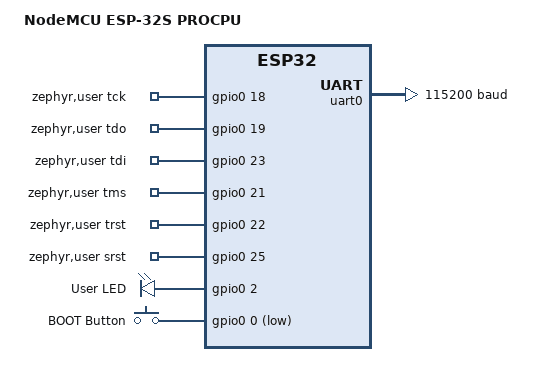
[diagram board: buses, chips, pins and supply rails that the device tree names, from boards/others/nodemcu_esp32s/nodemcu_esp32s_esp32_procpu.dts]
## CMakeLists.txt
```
cmake_minimum_required(VERSION 3.20.0)

list(APPEND BOARD_ROOT "${CMAKE_CURRENT_SOURCE_DIR}")
find_package(Zephyr REQUIRED HINTS $ENV{ZEPHYR_BASE})
project(dirtyjtag LANGUAGES C)

target_include_directories(app PRIVATE include)

if(CONFIG_DIRTYJTAG_UNIVERSAL_FRONTEND)
  target_sources(app PRIVATE
    src/main.c
    src/rpi_pico_hal.c
    src/swim_rp2040_pio.c

    src/bridge.c
    src/crc32.c
    src/debug.c
    src/debug_bitbang.c
    src/device_db.c
    src/dspic30.c
    src/dspic33f.c
    src/dspic_common.c
    src/dspic_debug.c
    src/hw.c
    src/phy_bitbang.c
    src/power_compat.c
    src/power_trace.c
    src/rtt.c
    src/safety.c
    src/script_vm.c
    src/swim.c
    src/swo.c
    src/usb_proto.c

    src/backends/backend_avr_isp.c
    src/backends/backend_c2.c
    src/backends/backend_dspic.c
    src/backends/backend_msp430_jtag.c
    src/backends/backend_pdi.c
    src/backends/backend_pic_icsp_raw.c
    src/backends/backend_registry.c
    src/backends/backend_rl78.c
    src/backends/backend_sbw.c
    src/backends/backend_simplelink.c
    src/backends/backend_swd_jtag.c
    src/backends/backend_swim.c
    src/backends/backend_tms320.c
    src/backends/backend_tpi.c
    src/backends/backend_updi.c
  )
else()
  target_sources(app PRIVATE
    src/cmd.c
    src/delay.c
    src/dirtyjtag.c
    src/jtag.c
  )
  if(CONFIG_DIRTYJTAG_LEGACY_UART_TRANSPORT)
    target_sources(app PRIVATE src/usb_uart.c)
  else()
    target_sources(app PRIVATE src/usb.c)
  endif()
endif()
```

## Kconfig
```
mainmenu "DirtyJTAG firmware"

choice DIRTYJTAG_FRONTEND
	prompt "USB protocol frontend"
	default DIRTYJTAG_UNIVERSAL_FRONTEND if SOC_RP2040
	default DIRTYJTAG_LEGACY_FRONTEND

config DIRTYJTAG_UNIVERSAL_FRONTEND
	bool "Universal DJP2 programmer and debugger"
	depends on SOC_RP2040
	help
	  Build the DJP2 command frontend and universal programming backends for
	  the protected Raspberry Pi Pico hardware frontend.

config DIRTYJTAG_LEGACY_FRONTEND
	bool "Original DirtyJTAG protocol"
	help
	  Build the original DirtyJTAG USB protocol and JTAG engine. This remains
	  the compatibility frontend for boards without the universal hardware.

endchoice

if DIRTYJTAG_LEGACY_FRONTEND

choice DIRTYJTAG_LEGACY_TRANSPORT
	prompt "Original DirtyJTAG transport"
	default DIRTYJTAG_LEGACY_UART_TRANSPORT if SOC_ESP32
	default DIRTYJTAG_LEGACY_USB_TRANSPORT

config DIRTYJTAG_LEGACY_USB_TRANSPORT
	bool "USB vendor bulk transport"
	depends on USB_DEVICE_STACK_NEXT
	help
	  Use the original vendor-specific USB bulk endpoints.

config DIRTYJTAG_LEGACY_UART_TRANSPORT
	bool "UART packet transport"
	depends on SERIAL
	help
	  Use the legacy command packets over the chosen console UART. This is
	  intended for ESP32 boards whose USB connector is an external USB-UART
	  bridge instead of a native USB device peripheral.

endchoice

config DIRTYJTAG_LEGACY_UART_RX_IDLE_MS
	int "UART packet receive idle timeout"
	depends on DIRTYJTAG_LEGACY_UART_TRANSPORT
	range 1 100
	default 2

endif

if DIRTYJTAG_UNIVERSAL_FRONTEND

config DJPROG_MAX_PAYLOAD
	int "Maximum DJP2 payload"
	range 256 4096
	default 2048
	help
	  Largest request or response payload buffered by the USB command task.

config DJPROG_VPP_MIN_MV
	int "Minimum accepted VPP"
	range 8000 15000
	default 10500

config DJPROG_VPP_MAX_MV
	int "Maximum accepted VPP"
	range 9000 16000
	default 13250

config DJPROG_3V3_MIN_MV
	int "Minimum accepted internally-generated 3.3 V target rail"
	range 2500 3400
	default 3000

config DJPROG_3V3_MAX_MV
	int "Maximum accepted internally-generated 3.3 V target rail"
	range 3300 4200
	default 3650

config DJPROG_5V_MIN_MV
	int "Minimum accepted internally-generated 5 V target rail"
	range 4000 5000
	default 4500

config DJPROG_5V_MAX_MV
	int "Maximum accepted internally-generated 5 V target rail"
	range 5000 6000
	default 5300

config DJPROG_VTARGET_SCALE_PPM
	int "VTARGET measurement gain calibration in ppm"
	range 800000 1200000
	default 1000000
	help
	  Gain correction applied after the nominal x2 divider conversion.

config DJPROG_VTARGET_OFFSET_MV
	int "VTARGET measurement offset calibration in mV"
	range -500 500
	default 0

config DJPROG_VPP_SCALE_PPM
	int "VPP measurement gain calibration in ppm"
	range 800000 1200000
	default 1000000
	help
	  Gain correction applied after the nominal x4.3 divider conversion.

config DJPROG_VPP_OFFSET_MV
	int "VPP measurement offset calibration in mV"
	range -1000 1000
	default 0

config DJPROG_ITARGET_SCALE_PPM
	int "Target-current measurement gain calibration in ppm"
	range 800000 1200000
	default 1000000
	help
	  Gain correction applied after the nominal 5 mV/mA conversion.

config DJPROG_ITARGET_OFFSET_MA
	int "Target-current measurement offset calibration in mA"
	range -100 100
	default 0

config DJPROG_SWIM_RP2040_PIO
	bool "Use RP2040 PIO-assisted STM8 SWIM PHY"
	depends on PIO_RPI_PICO
	default y
	help
	  Use an RP2040 PIO state machine for timing-sensitive STM8 SWIM pulses.

config DJPROG_SWIM_PIO_DEFAULT_HZ
	int "Default STM8 SWIM PIO low-speed clock"
	range 100000 8000000
	default 363000

config DJPROG_TARGET_CURRENT_LIMIT_MA
	int "Nominal hardware target current limit"
	default 500
	help
	  Documentation value for the fitted TPS2553 RILIM. Hardware enforces
	  the actual current limit.

endif

source "Kconfig.zephyr"
```

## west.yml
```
manifest:
  version: "1.2"
  remotes:
    - name: zephyrproject-rtos
      url-base: https://github.com/zephyrproject-rtos
  projects:
    - name: zephyr
      remote: zephyrproject-rtos
      revision: v4.3.0
      import: true
  self:
    path: DirtyJTAG-Universal-Pico
```

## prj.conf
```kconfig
CONFIG_MAIN_STACK_SIZE=8192
CONFIG_HEAP_MEM_POOL_SIZE=4096
CONFIG_GPIO=y
CONFIG_ADC=y
CONFIG_SERIAL=y
CONFIG_UART_LINE_CTRL=y
CONFIG_USB_DEVICE_STACK=y
CONFIG_USB_DEVICE_PRODUCT="DirtyJTAG Universal Pico Prog+Debug"
CONFIG_USB_DEVICE_MANUFACTURER="DirtyJTAG"
CONFIG_USB_DEVICE_VID=0x1209
CONFIG_USB_DEVICE_PID=0xC0CA
CONFIG_LOG=n
CONFIG_CONSOLE=n
CONFIG_UART_CONSOLE=n
CONFIG_STDOUT_CONSOLE=n
CONFIG_ASSERT=y
```

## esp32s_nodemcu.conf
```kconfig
CONFIG_DIRTYJTAG_UNIVERSAL_FRONTEND=n
CONFIG_DIRTYJTAG_LEGACY_FRONTEND=y
CONFIG_DIRTYJTAG_LEGACY_UART_TRANSPORT=y

CONFIG_USB_DEVICE_STACK=n
CONFIG_USB_DEVICE_STACK_NEXT=n
CONFIG_ADC=n
CONFIG_SERIAL=y
CONFIG_UART_CONSOLE=n
CONFIG_CONSOLE=n
CONFIG_UART_LINE_CTRL=n
CONFIG_MAIN_STACK_SIZE=2048
CONFIG_SYSTEM_WORKQUEUE_STACK_SIZE=1024
```

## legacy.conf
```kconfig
CONFIG_DIRTYJTAG_UNIVERSAL_FRONTEND=n
CONFIG_DIRTYJTAG_LEGACY_FRONTEND=y

CONFIG_USB_DEVICE_STACK=n
CONFIG_USB_DEVICE_STACK_NEXT=y
CONFIG_UDC_DRIVER_HIGH_SPEED_SUPPORT_ENABLED=n

CONFIG_ADC=n
CONFIG_SERIAL=n
CONFIG_UART_LINE_CTRL=n
CONFIG_MAIN_STACK_SIZE=2048
CONFIG_SYSTEM_WORKQUEUE_STACK_SIZE=1024
```

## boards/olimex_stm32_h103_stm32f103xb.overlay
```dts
/ {
  zephyr,user {
    tck-gpios = <&gpioa 5 GPIO_ACTIVE_HIGH>;
    tdo-gpios = <&gpioa 6 GPIO_ACTIVE_HIGH>;
    tdi-gpios = <&gpioa 7 GPIO_ACTIVE_HIGH>;
    tms-gpios = <&gpioa 3 GPIO_ACTIVE_HIGH>;
    trst-gpios = <&gpioa 4 GPIO_ACTIVE_HIGH>;
    srst-gpios = <&gpioa 2 GPIO_ACTIVE_HIGH>;
  };
};

&usb {
  status = "okay";
};
```

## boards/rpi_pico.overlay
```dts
#include <zephyr/dt-bindings/adc/adc.h>

&adc { status = "okay"; };

&zephyr_udc0 {
    dj_cdc: dj_cdc {
        compatible = "zephyr,cdc-acm-uart";
        label = "DirtyJTAG Universal Programmer";
    };
};
```

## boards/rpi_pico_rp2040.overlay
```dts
#include <zephyr/dt-bindings/adc/adc.h>
#include <zephyr/dt-bindings/gpio/gpio.h>

/ {
	aliases {
		dirtyjtag-pico = &dirtyjtag_pico;
		dirtyjtag-pio = &pio0;
	};

	zephyr,user {
		tck-gpios = <&gpio0 2 GPIO_ACTIVE_HIGH>;
		tms-gpios = <&gpio0 3 GPIO_ACTIVE_HIGH>;
		tdi-gpios = <&gpio0 4 GPIO_ACTIVE_HIGH>;
		tdo-gpios = <&gpio0 5 GPIO_ACTIVE_HIGH>;
		srst-gpios = <&gpio0 6 GPIO_ACTIVE_HIGH>;
		trst-gpios = <&gpio0 7 GPIO_ACTIVE_HIGH>;
	};

	dirtyjtag_pico: dirtyjtag-pico {
		compatible = "dirtyjtag,pico-front-end";
		status = "okay";

		/*
		 * Universal target connector roles:
		 * CLK=J1.3, DATA0=J1.4, DATA1=J1.5, DATA2=J1.6,
		 * RESET/VPP=J1.7, AUX=J1.9.
		 */
		clk-gpios = <&gpio0 2 GPIO_ACTIVE_HIGH>;
		data0-gpios = <&gpio0 3 GPIO_ACTIVE_HIGH>;
		data1-gpios = <&gpio0 4 GPIO_ACTIVE_HIGH>;
		data2-gpios = <&gpio0 5 GPIO_ACTIVE_HIGH>;
		reset-gpios = <&gpio0 6 GPIO_ACTIVE_HIGH>;
		aux-gpios = <&gpio0 7 GPIO_ACTIVE_HIGH>;

		clk-dir-gpios = <&gpio0 8 GPIO_ACTIVE_HIGH>;
		data0-dir-gpios = <&gpio0 9 GPIO_ACTIVE_HIGH>;
		data1-dir-gpios = <&gpio0 10 GPIO_ACTIVE_HIGH>;
		data2-dir-gpios = <&gpio0 11 GPIO_ACTIVE_HIGH>;
		aux-dir-gpios = <&gpio0 12 GPIO_ACTIVE_HIGH>;

		tgt-reg-en-gpios = <&gpio0 13 GPIO_ACTIVE_HIGH>;
		tgt-vsel-gpios = <&gpio0 14 GPIO_ACTIVE_HIGH>;
		tgt-sw-en-gpios = <&gpio0 15 GPIO_ACTIVE_HIGH>;
		vpp-boost-en-gpios = <&gpio0 16 GPIO_ACTIVE_HIGH>;
		vpp-mclr-apply-gpios = <&gpio0 17 GPIO_ACTIVE_HIGH>;
		tgt-fault-n-gpios = <&gpio0 18 GPIO_ACTIVE_LOW>;
		data0-iso-en-gpios = <&gpio0 19 GPIO_ACTIVE_HIGH>;
		hv-data0-apply-gpios = <&gpio0 20 GPIO_ACTIVE_HIGH>;

		vtarget-adc-channel = <0>;	/* GP26 / ADC0, x2 divider */
		vpp-adc-channel = <1>;		/* GP27 / ADC1, x4.3 divider */
		itarget-adc-channel = <2>;	/* GP28 / ADC2, 5 mV/mA */
	};
};

&adc {
	status = "okay";
};

/* The RP2040 SWIM PHY allocates state machines from PIO0. */
&pio0 {
	status = "okay";
};

&zephyr_udc0 {
	dj_cdc: dj_cdc {
		compatible = "zephyr,cdc-acm-uart";
	};
};
```

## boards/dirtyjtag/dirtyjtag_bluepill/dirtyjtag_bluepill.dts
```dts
/*
 * DirtyJTAG Bluepill board definition.
 *
 * SPDX-License-Identifier: Apache-2.0
 */

/dts-v1/;
#include <st/f1/stm32f103X8.dtsi>
#include <zephyr/dt-bindings/gpio/gpio.h>

/ {
	model = "DirtyJTAG Bluepill";
	compatible = "dirtyjtag,bluepill", "st,stm32f103c8";

	chosen {
		zephyr,sram = &sram0;
		zephyr,flash = &flash0;
	};

	zephyr,user {
		tck-gpios = <&gpioa 5 GPIO_ACTIVE_HIGH>;
		tdo-gpios = <&gpioa 6 GPIO_ACTIVE_HIGH>;
		tdi-gpios = <&gpioa 7 GPIO_ACTIVE_HIGH>;
		tms-gpios = <&gpioa 3 GPIO_ACTIVE_HIGH>;
		trst-gpios = <&gpioa 4 GPIO_ACTIVE_HIGH>;
		srst-gpios = <&gpioa 2 GPIO_ACTIVE_HIGH>;
	};
};

&clk_hse {
	clock-frequency = <DT_FREQ_M(8)>;
	status = "okay";
};

&pll {
	mul = <9>;
	clocks = <&clk_hse>;
	status = "okay";
};

&rcc {
	clocks = <&pll>;
	clock-frequency = <DT_FREQ_M(72)>;
	ahb-prescaler = <1>;
	apb1-prescaler = <2>;
	apb2-prescaler = <1>;
};

&gpioa {
	status = "okay";
};

&gpiob {
	status = "okay";
};

zephyr_udc0: &usb {
	status = "okay";
};
```

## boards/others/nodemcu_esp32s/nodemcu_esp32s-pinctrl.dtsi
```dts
/*
 * SPDX-License-Identifier: Apache-2.0
 */

#include <zephyr/dt-bindings/pinctrl/esp-pinctrl-common.h>
#include <zephyr/dt-bindings/pinctrl/esp32-pinctrl.h>
#include <zephyr/dt-bindings/pinctrl/esp32-gpio-sigmap.h>

&pinctrl {
	uart0_default: uart0_default {
		group1 {
			pinmux = <UART0_TX_GPIO1>;
			output-high;
		};

		group2 {
			pinmux = <UART0_RX_GPIO3>;
			bias-pull-up;
		};
	};
};
```

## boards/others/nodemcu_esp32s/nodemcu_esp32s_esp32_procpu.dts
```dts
/*
 * SPDX-License-Identifier: Apache-2.0
 */
/dts-v1/;

#include <espressif/esp32/esp32_wroom_32ue_n4.dtsi>
#include "nodemcu_esp32s-pinctrl.dtsi"
#include <zephyr/dt-bindings/input/input-event-codes.h>
#include <espressif/partitions_0x1000_amp.dtsi>

/ {
	model = "NodeMCU ESP-32S PROCPU";
	compatible = "espressif,esp32";

	aliases {
		uart-0 = &uart0;
		sw0 = &button0;
		led0 = &blue_led;
		watchdog0 = &wdt0;
	};

	chosen {
		zephyr,sram = &sram1;
		zephyr,console = &uart0;
		zephyr,shell-uart = &uart0;
		zephyr,flash = &flash0;
		zephyr,code-partition = &slot0_partition;
	};

	zephyr,user {
		/*
		 * DirtyJTAG external probe header.
		 * Avoid ESP32 boot strapping pins 0/2/4/5/12/15 so an attached
		 * target cannot easily hold the module in the wrong boot mode.
		 */
		tck-gpios = <&gpio0 18 GPIO_ACTIVE_HIGH>;
		tdo-gpios = <&gpio0 19 GPIO_ACTIVE_HIGH>;
		tdi-gpios = <&gpio0 23 GPIO_ACTIVE_HIGH>;
		tms-gpios = <&gpio0 21 GPIO_ACTIVE_HIGH>;
		trst-gpios = <&gpio0 22 GPIO_ACTIVE_HIGH>;
		srst-gpios = <&gpio0 25 GPIO_ACTIVE_HIGH>;
	};

	leds {
		compatible = "gpio-leds";

		blue_led: blue_led {
			gpios = <&gpio0 2 GPIO_ACTIVE_HIGH>;
			label = "User LED";
		};
	};

	buttons {
		compatible = "gpio-keys";

		button0: button_0 {
			gpios = <&gpio0 0 (GPIO_PULL_UP | GPIO_ACTIVE_LOW)>;
			label = "BOOT Button";
			zephyr,code = <INPUT_KEY_0>;
		};
	};
};

&uart0 {
	status = "okay";
	current-speed = <115200>;
	pinctrl-0 = <&uart0_default>;
	pinctrl-names = "default";
};

&gpio0 {
	status = "okay";
};

&gpio1 {
	status = "okay";
};

&timer0 {
	status = "disabled";
};

&timer1 {
	status = "disabled";
};

&timer2 {
	status = "disabled";
};

&timer3 {
	status = "disabled";
};
```

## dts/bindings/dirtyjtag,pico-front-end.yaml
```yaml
description: DirtyJTAG Raspberry Pi Pico universal front-end

compatible: "dirtyjtag,pico-front-end"

properties:
  clk-gpios:
    type: phandle-array
    required: true
  data0-gpios:
    type: phandle-array
    required: true
  data1-gpios:
    type: phandle-array
    required: true
  data2-gpios:
    type: phandle-array
    required: true
  reset-gpios:
    type: phandle-array
    required: true
  aux-gpios:
    type: phandle-array
    required: true

  clk-dir-gpios:
    type: phandle-array
    required: true
  data0-dir-gpios:
    type: phandle-array
    required: true
  data1-dir-gpios:
    type: phandle-array
    required: true
  data2-dir-gpios:
    type: phandle-array
    required: true
  aux-dir-gpios:
    type: phandle-array
    required: true

  tgt-reg-en-gpios:
    type: phandle-array
    required: true
  tgt-vsel-gpios:
    type: phandle-array
    required: true
  tgt-sw-en-gpios:
    type: phandle-array
    required: true
  vpp-boost-en-gpios:
    type: phandle-array
    required: true
  vpp-mclr-apply-gpios:
    type: phandle-array
    required: true
  tgt-fault-n-gpios:
    type: phandle-array
    required: true
  data0-iso-en-gpios:
    type: phandle-array
    required: true
  hv-data0-apply-gpios:
    type: phandle-array
    required: true

  vtarget-adc-channel:
    type: int
    required: true
  vpp-adc-channel:
    type: int
    required: true
  itarget-adc-channel:
    type: int
    required: true
```

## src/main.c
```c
/* SPDX-License-Identifier: MIT */
#include "djprog/hw.h"
#include "djprog/usb_proto.h"

#include <zephyr/device.h>
#include <zephyr/drivers/uart.h>
#include <zephyr/kernel.h>
#include <zephyr/usb/usb_device.h>

/* The universal frontend is a small USB-to-target event loop. Target-specific
 * behavior stays behind the DJP2 dispatcher and hardware abstraction. */
extern int dj_rpi_pico_hal_init(void);

static const struct device *const cdc = DEVICE_DT_GET(DT_NODELABEL(dj_cdc));
static uint8_t input_buffer[DJP2_HDR_SIZE + DJP2_MAX_PAYLOAD];
static uint8_t output_buffer[DJP2_HDR_SIZE + DJP2_MAX_PAYLOAD];
static struct djp2_frame request;
static struct djp2_frame response;

static uint8_t read_byte(void) {
	uint8_t value;

	while (uart_poll_in(cdc, &value) != 0) {
		k_sleep(K_MSEC(1));
	}

	return value;
}

static void write_bytes(const uint8_t *data, size_t length) {
	for (size_t i = 0; i < length; ++i) {
		uart_poll_out(cdc, data[i]);
	}
}

static void wait_for_host(void) {
	uint32_t dtr = 0;

	while (dtr == 0U) {
		(void)uart_line_ctrl_get(cdc, UART_LINE_CTRL_DTR, &dtr);
		k_sleep(K_MSEC(50));
	}
}

static void read_frame(void) {
	uint32_t window = 0;

	/* Scan for the magic so a truncated or noisy frame does not desync USB. */
	do {
		window = (window >> 8) | ((uint32_t)read_byte() << 24);
	} while (window != DJP2_MAGIC);

	input_buffer[0] = 'D';
	input_buffer[1] = 'J';
	input_buffer[2] = 'P';
	input_buffer[3] = '2';
	for (size_t i = 4; i < DJP2_HDR_SIZE; ++i) {
		input_buffer[i] = read_byte();
	}
}

int main(void) {
	if (dj_rpi_pico_hal_init() != 0) {
		return 0;
	}

	(void)dj_hw_safe_idle();
	if (!device_is_ready(cdc) || usb_enable(NULL) != 0) {
		return 0;
	}
	wait_for_host();

	for (;;) {
		read_frame();
		uint32_t payload_length = (uint32_t)input_buffer[14] | ((uint32_t)input_buffer[15] << 8) |
		                          ((uint32_t)input_buffer[16] << 16) |
		                          ((uint32_t)input_buffer[17] << 24);

		if (payload_length > DJP2_MAX_PAYLOAD) {
			(void)dj_hw_safe_idle();
			continue;
		}
		for (size_t i = 0; i < payload_length; ++i) {
			input_buffer[DJP2_HDR_SIZE + i] = read_byte();
		}

		if (djp2_decode(input_buffer, DJP2_HDR_SIZE + payload_length, &request) != 0) {
			(void)dj_hw_safe_idle();
			continue;
		}

		(void)djp2_dispatch(&request, &response);
		size_t encoded_length = djp2_encode(&response, output_buffer, sizeof(output_buffer));
		if (encoded_length != 0U) {
			write_bytes(output_buffer, encoded_length);
		}
	}

	return 0;
}
```

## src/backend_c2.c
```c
/* SPDX-License-Identifier: MIT */
#include "djprog/backend.h"
#include "djprog/phy.h"
#include "djprog/hw.h"
#include <errno.h>
#define C2_DEVICEID 0x00u
#define C2_REVID    0x01u
#define C2_FPCTL    0x02u
#define C2_FPDAT    0xB4u
static struct dj_target_cfg cfg;static int sel(const struct dj_target_cfg*c){cfg=*c;return 0;}
static int poll(uint8_t mask,bool set){for(int i=0;i<10000;i++){uint8_t a=0;int r=dj_c2_addr_read(&a);if(r)return r;if(((a&mask)!=0)==set)return 0;dj_hw()->delay_us(2);}return-ETIMEDOUT;}
static int fpwrite(uint8_t x){int r=dj_c2_data_write(x);if(r)return r;return poll(0x02,false);}static int fpread(uint8_t*x){int r=poll(0x01,true);if(r)return r;return dj_c2_data_read(x);} 
static int enter(void){const struct dj_hw_ops*h=dj_hw();if(!h)return-ENODEV;if(h->power){int r=h->power(cfg.power);if(r)return r;}h->dir(DJ_PIN_CLK,DJ_DIR_OUTPUT);h->write(DJ_PIN_CLK,false);h->delay_us(25);h->write(DJ_PIN_CLK,true);h->delay_us(3);int r=dj_c2_addr_write(C2_FPCTL);if(r)return r;if((r=dj_c2_data_write(0x02)))return r;if((r=dj_c2_data_write(0x04)))return r;if((r=dj_c2_data_write(0x01)))return r;h->delay_us(20000);return 0;}static int leave(void){if(dj_hw()){dj_hw()->dir(DJ_PIN_CLK,DJ_DIR_INPUT);dj_hw()->dir(DJ_PIN_DATA0,DJ_DIR_INPUT);}return 0;}
static int identify(uint8_t*out,size_t*len){if(!out||!len||*len<2)return-ENOSPC;int r=dj_c2_addr_write(C2_DEVICEID);if(r)return r;if((r=dj_c2_data_read(&out[0])))return r;if((r=dj_c2_addr_write(C2_REVID)))return r;if((r=dj_c2_data_read(&out[1])))return r;*len=2;return 0;}
static int c2cmd(uint8_t c){int r=dj_c2_addr_write(C2_FPDAT);if(r)return r;if((r=fpwrite(c)))return r;uint8_t s=0;if((r=fpread(&s)))return r;return s==0x0D?0:-EIO;}
static int erase(void){int r=c2cmd(0x03);if(r)return r;uint8_t key[3]={0xDE,0xAD,0xA5};for(int i=0;i<3;i++)if((r=fpwrite(key[i])))return r;uint8_t s=0;if((r=fpread(&s)))return r;return s==0x0D?0:-EIO;}
static int readm(uint32_t a,uint8_t*d,size_t n){if(!d||a>0xFFFFu||a+n>0x10000u)return-ERANGE;while(n){size_t k=n>256?256:n;int r=c2cmd(0x06);if(r)return r;if((r=fpwrite((uint8_t)(a>>8))))return r;if((r=fpwrite((uint8_t)a)))return r;if((r=fpwrite((uint8_t)(k==256?0:k))))return r;for(size_t i=0;i<k;i++)if((r=fpread(&d[i])))return r;a+=k;d+=k;n-=k;}return 0;}
static int writem(uint32_t a,const uint8_t*d,size_t n){if(!d||a>0xFFFFu||a+n>0x10000u)return-ERANGE;while(n){size_t k=n>256?256:n;int r=c2cmd(0x07);if(r)return r;if((r=fpwrite((uint8_t)(a>>8))))return r;if((r=fpwrite((uint8_t)a)))return r;if((r=fpwrite((uint8_t)(k==256?0:k))))return r;for(size_t i=0;i<k;i++)if((r=fpwrite(d[i])))return r;uint8_t s=0;if((r=fpread(&s)))return r;if(s!=0x0D)return-EIO;a+=k;d+=k;n-=k;}return 0;}
static int raw(const uint8_t*t,size_t n,uint8_t*r,size_t*rn){if(!t||n<1||!rn)return-EINVAL;switch(t[0]){case 0:if(n<2)return-EINVAL;*rn=0;return dj_c2_addr_write(t[1]);case 1:if(*rn<1)return-ENOSPC;*rn=1;return dj_c2_addr_read(r);case 2:if(n<2)return-EINVAL;*rn=0;return dj_c2_data_write(t[1]);case 3:if(*rn<1)return-ENOSPC;*rn=1;return dj_c2_data_read(r);default:return-ENOSYS;}}
const struct dj_backend dj_backend_c2={DJ_PROTO_SILABS_C2,"silabs-c2",DJ_CAP_IDENTIFY|DJ_CAP_ERASE|DJ_CAP_READ|DJ_CAP_WRITE|DJ_CAP_RAW_XFER|DJ_CAP_DEBUG_PHY|DJ_CAP_EXPERIMENTAL,100000,1000000,sel,enter,leave,identify,erase,readm,writem,raw};
```

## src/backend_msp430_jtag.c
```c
/* SPDX-License-Identifier: MIT */
#include "djprog/backend.h"
#include "djprog/hw.h"
#include "djprog/msp430.h"
#include <errno.h>
#include <string.h>

static struct dj_target_cfg cfg;

static uint32_t hp(void)
{
    uint32_t hz = cfg.clock_hz ? cfg.clock_hz : 200000u;
    uint32_t x = 500000u / hz;
    return x ? x : 1u;
}

static void dly(void)
{
    const struct dj_hw_ops *h = dj_hw();
    if (h && h->delay_us) h->delay_us(hp());
}

static int sel(const struct dj_target_cfg *c)
{
    if (!c) return -EINVAL;
    cfg = *c;
    return 0;
}

static int jtag_clk(bool tms, bool tdi, bool *tdo)
{
    const struct dj_hw_ops *h = dj_hw();
    if (!h) return -ENODEV;
    int r = h->write(DJ_PIN_CLK, false); if (r) return r;
    r = h->write(DJ_PIN_DATA0, tms); if (r) return r;   /* TMS */
    r = h->write(DJ_PIN_DATA1, tdi); if (r) return r;   /* TDI */
    dly();
    bool v = false;
    if (tdo) { r = h->read(DJ_PIN_DATA2, &v); if (r) return r; }
    r = h->write(DJ_PIN_CLK, true); if (r) return r;
    dly();
    if (tdo) *tdo = v;
    return 0;
}

static int tap_reset(unsigned cycles)
{
    if (!cycles) cycles = 6;
    for (unsigned i = 0; i < cycles; ++i) {
        int r = jtag_clk(true, true, NULL);
        if (r) return r;
    }
    return jtag_clk(false, true, NULL); /* Run-Test/Idle */
}

static int goto_shift_ir(void)
{
    int r;
    r = jtag_clk(true, true, NULL); if (r) return r;  /* Select-DR */
    r = jtag_clk(true, true, NULL); if (r) return r;  /* Select-IR */
    r = jtag_clk(false, true, NULL); if (r) return r; /* Capture-IR */
    return jtag_clk(false, true, NULL);               /* Shift-IR */
}

static int goto_shift_dr(void)
{
    int r;
    r = jtag_clk(true, true, NULL); if (r) return r;  /* Select-DR */
    r = jtag_clk(false, true, NULL); if (r) return r; /* Capture-DR */
    return jtag_clk(false, true, NULL);               /* Shift-DR */
}

static int finish_shift(void)
{
    int r;
    r = jtag_clk(true, true, NULL); if (r) return r;  /* Update-IR/DR */
    return jtag_clk(false, true, NULL);               /* Run-Test/Idle */
}

static int shift_bits(bool ir, uint16_t bits, const uint8_t *tx, uint8_t *rx, size_t *rxlen)
{
    if (!bits || !tx || !rx || !rxlen) return -EINVAL;
    size_t bytes = (bits + 7u) / 8u;
    if (*rxlen < bytes) return -ENOSPC;
    memset(rx, 0, bytes);
    int r = ir ? goto_shift_ir() : goto_shift_dr();
    if (r) return r;
    for (uint16_t i = 0; i < bits; ++i) {
        bool last = (i + 1u) == bits;
        bool tdi = ((tx[i / 8u] >> (i & 7u)) & 1u) != 0;
        bool tdo = false;
        r = jtag_clk(last, tdi, &tdo);
        if (r) return r;
        if (tdo) rx[i / 8u] |= (uint8_t)(1u << (i & 7u));
    }
    r = finish_shift();
    if (!r) *rxlen = bytes;
    return r;
}

static int clock_const(uint8_t cycles, bool tms, bool tdi, uint8_t *rx, size_t *rxlen)
{
    if (!rx || !rxlen) return -EINVAL;
    size_t bytes = (cycles + 7u) / 8u;
    if (*rxlen < bytes) return -ENOSPC;
    memset(rx, 0, bytes);
    for (uint8_t i = 0; i < cycles; ++i) {
        bool tdo = false;
        int r = jtag_clk(tms, tdi, &tdo);
        if (r) return r;
        if (tdo) rx[i / 8u] |= (uint8_t)(1u << (i & 7u));
    }
    *rxlen = bytes;
    return 0;
}

static int enter(void)
{
    const struct dj_hw_ops *h = dj_hw();
    if (!h) return -ENODEV;
    if (h->power) {
        int r = h->power(cfg.power);
        if (r) return r;
    }
    int r;
    r = h->dir(DJ_PIN_CLK, DJ_DIR_OUTPUT); if (r) return r;   /* TCK */
    r = h->dir(DJ_PIN_DATA0, DJ_DIR_OUTPUT); if (r) return r; /* TMS */
    r = h->dir(DJ_PIN_DATA1, DJ_DIR_OUTPUT); if (r) return r; /* TDI */
    r = h->dir(DJ_PIN_DATA2, DJ_DIR_INPUT); if (r) return r;  /* TDO */
    r = h->dir(DJ_PIN_RESET, DJ_DIR_OUTPUT); if (r) return r; /* nRST */
    r = h->dir(DJ_PIN_AUX, DJ_DIR_OUTPUT); if (r) return r;   /* TEST / JTAG enable */
    h->write(DJ_PIN_CLK, false);
    h->write(DJ_PIN_DATA0, true);
    h->write(DJ_PIN_DATA1, true);
    /* Conservative MSP430 TEST/RST gate for devices with shared JTAG pins.
     * Board validation can tighten this into family-specific sequences. */
    h->write(DJ_PIN_RESET, false);
    h->write(DJ_PIN_AUX, false);
    h->delay_us(200);
    h->write(DJ_PIN_AUX, true);
    h->delay_us(200);
    h->write(DJ_PIN_RESET, true);
    h->delay_us(1000);
    return tap_reset(8);
}

static int leave(void)
{
    const struct dj_hw_ops *h = dj_hw();
    if (!h) return -ENODEV;
    h->write(DJ_PIN_AUX, false);
    h->write(DJ_PIN_RESET, true);
    h->dir(DJ_PIN_CLK, DJ_DIR_INPUT);
    h->dir(DJ_PIN_DATA0, DJ_DIR_INPUT);
    h->dir(DJ_PIN_DATA1, DJ_DIR_INPUT);
    h->dir(DJ_PIN_DATA2, DJ_DIR_INPUT);
    h->dir(DJ_PIN_AUX, DJ_DIR_INPUT);
    return 0;
}

static int raw_xfer(const uint8_t *tx, size_t txlen, uint8_t *rx, size_t *rxlen)
{
    if (!tx || !rx || !rxlen || txlen < 1) return -EINVAL;
    switch (tx[0]) {
    case DJ_MSP430_RAW_TAP_RESET:
        if (txlen != 2) return -EINVAL;
        *rxlen = 0;
        return tap_reset(tx[1]);
    case DJ_MSP430_RAW_SHIFT_IR:
    case DJ_MSP430_RAW_SHIFT_DR: {
        if (txlen < 3) return -EINVAL;
        uint16_t bits = (uint16_t)tx[1] | ((uint16_t)tx[2] << 8);
        size_t bytes = (bits + 7u) / 8u;
        if (bits == 0 || txlen != 3u + bytes) return -EINVAL;
        return shift_bits(tx[0] == DJ_MSP430_RAW_SHIFT_IR, bits, tx + 3, rx, rxlen);
    }
    case DJ_MSP430_RAW_CLOCK:
        if (txlen != 4) return -EINVAL;
        return clock_const(tx[1], tx[2] != 0u, tx[3] != 0u, rx, rxlen);
    default:
        return -EINVAL;
    }
}

const struct dj_backend dj_backend_msp430_jtag = {
    DJ_PROTO_MSP430_JTAG,
    "msp430-jtag",
    DJ_CAP_RAW_XFER | DJ_CAP_DEBUG_PHY | DJ_CAP_TARGET_POWER | DJ_CAP_EXPERIMENTAL,
    200000,
    1000000,
    sel,
    enter,
    leave,
    NULL,
    NULL,
    NULL,
    NULL,
    raw_xfer
};
```

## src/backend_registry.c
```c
/* SPDX-License-Identifier: MIT */
#include "djprog/backend.h"
#include "djprog/debug.h"
#include <errno.h>
#include <string.h>

extern const struct dj_backend dj_backend_avr_isp,dj_backend_updi,dj_backend_tpi,dj_backend_pdi;
extern const struct dj_backend dj_backend_swim,dj_backend_sbw,dj_backend_msp430_jtag,dj_backend_c2,dj_backend_rl78;
extern const struct dj_backend dj_backend_swd,dj_backend_jtag,dj_backend_dspic,dj_backend_pic24_raw,dj_backend_pic_raw;
extern const struct dj_backend dj_backend_tms320_jtag;

static const struct dj_backend *all[]={
    &dj_backend_dspic,&dj_backend_pic24_raw,&dj_backend_pic_raw,
    &dj_backend_avr_isp,&dj_backend_updi,&dj_backend_tpi,&dj_backend_pdi,
    &dj_backend_swim,&dj_backend_sbw,&dj_backend_msp430_jtag,&dj_backend_c2,&dj_backend_rl78,
    &dj_backend_swd,&dj_backend_jtag,&dj_backend_tms320_jtag
};
static const struct dj_backend *sel;
static struct dj_target_cfg cfg;
size_t dj_backend_count(void){return sizeof(all)/sizeof(all[0]);}
const struct dj_backend*dj_backend_at(size_t i){return i<dj_backend_count()?all[i]:0;}
const struct dj_backend*dj_backend_by_id(enum dj_proto_id id){for(size_t i=0;i<dj_backend_count();i++)if(all[i]->id==id)return all[i];return 0;}
int dj_select_backend(const struct dj_target_cfg*c){
    if(!c)return -EINVAL;
    const struct dj_backend*b=dj_backend_by_id(c->proto);
    if(!b)return -ENODEV;
    int r=dj_hw_safe_idle();if(r&&r!=-ENODEV)return r;
    cfg=*c;if(!cfg.clock_hz)cfg.clock_hz=b->default_hz;if(cfg.clock_hz>b->max_hz)return -ERANGE;
    r=b->select?b->select(&cfg):0;if(r)return r;sel=b;dj_debug_backend_changed();return 0;
}
const struct dj_backend*dj_selected_backend(void){return sel;}
const struct dj_target_cfg*dj_target_config(void){return &cfg;}
```

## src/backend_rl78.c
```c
/* SPDX-License-Identifier: MIT */
#include "djprog/backend.h"
#include "djprog/phy.h"
#include "djprog/hw.h"
#include <errno.h>
static struct dj_target_cfg cfg;static int sel(const struct dj_target_cfg*c){cfg=*c;return 0;}static int enter(void){const struct dj_hw_ops*h=dj_hw();if(!h)return-ENODEV;h->dir(DJ_PIN_DATA0,DJ_DIR_OUTPUT);h->dir(DJ_PIN_RESET,DJ_DIR_OUTPUT);if(h->power){int r=h->power(cfg.power);if(r)return r;}h->write(DJ_PIN_DATA0,false);h->write(DJ_PIN_RESET,false);h->delay_us(1000);h->write(DJ_PIN_RESET,true);h->delay_us(1000);h->write(DJ_PIN_DATA0,true);uint8_t mode=0x3A;return dj_uart_1wire_txrx(&mode,1,0,0,9600,false);}static int leave(void){if(dj_hw()){dj_hw()->write(DJ_PIN_RESET,false);dj_hw()->dir(DJ_PIN_DATA0,DJ_DIR_INPUT);}return 0;}static int raw(const uint8_t*t,size_t n,uint8_t*r,size_t*rn){if(!t||n<4||!rn)return-EINVAL;uint16_t txc=(uint16_t)t[0]|((uint16_t)t[1]<<8),rxc=(uint16_t)t[2]|((uint16_t)t[3]<<8);if(4u+txc>n||rxc>*rn)return-EINVAL;int e=dj_uart_1wire_txrx(t+4,txc,r,rxc,cfg.clock_hz?cfg.clock_hz:115200,false);if(!e)*rn=rxc;return e;}const struct dj_backend dj_backend_rl78={DJ_PROTO_RENESAS_RL78,"renesas-rl78-protocol-a",DJ_CAP_RAW_XFER|DJ_CAP_EXPERIMENTAL,115200,1000000,sel,enter,leave,0,0,0,0,raw};
```

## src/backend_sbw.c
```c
/* SPDX-License-Identifier: MIT */
#include "djprog/backend.h"
#include "djprog/hw.h"
#include "djprog/msp430.h"
#include <errno.h>
#include <string.h>

static struct dj_target_cfg cfg;

static uint32_t hp(void)
{
    uint32_t hz = cfg.clock_hz ? cfg.clock_hz : 100000u;
    uint32_t x = 500000u / hz;
    return x ? x : 1u;
}

static void dly(void)
{
    const struct dj_hw_ops *h = dj_hw();
    if (h && h->delay_us) h->delay_us(hp());
}

static int sel(const struct dj_target_cfg *c)
{
    if (!c) return -EINVAL;
    cfg = *c;
    return 0;
}

static int sbw_slot(bool tms, bool tdi, bool *tdo)
{
    const struct dj_hw_ops *h = dj_hw();
    if (!h) return -ENODEV;
    int r;
    /* Spy-Bi-Wire serializes a JTAG TMS/TDI/TDO cycle into three SBWTCK
     * slots on SBWTDIO.  This is a functional GPIO implementation intended
     * for bring-up and low-speed validation; a future PIO path can replace
     * the slot primitive without changing the host protocol. */
    r = h->dir(DJ_PIN_DATA0, DJ_DIR_OUTPUT); if (r) return r;
    r = h->write(DJ_PIN_DATA0, tms); if (r) return r;
    r = h->write(DJ_PIN_CLK, false); if (r) return r; dly();
    r = h->write(DJ_PIN_CLK, true); if (r) return r; dly();

    r = h->write(DJ_PIN_DATA0, tdi); if (r) return r;
    r = h->write(DJ_PIN_CLK, false); if (r) return r; dly();
    r = h->write(DJ_PIN_CLK, true); if (r) return r; dly();

    r = h->dir(DJ_PIN_DATA0, DJ_DIR_INPUT); if (r) return r;
    bool v = false;
    r = h->write(DJ_PIN_CLK, false); if (r) return r; dly();
    r = h->write(DJ_PIN_CLK, true); if (r) return r;
    if (tdo) { r = h->read(DJ_PIN_DATA0, &v); if (r) return r; }
    dly();
    if (tdo) *tdo = v;
    return 0;
}

static int tap_reset(unsigned cycles)
{
    if (!cycles) cycles = 6;
    for (unsigned i = 0; i < cycles; ++i) {
        int r = sbw_slot(true, true, NULL);
        if (r) return r;
    }
    return sbw_slot(false, true, NULL);
}

static int goto_shift_ir(void)
{
    int r;
    r = sbw_slot(true, true, NULL); if (r) return r;
    r = sbw_slot(true, true, NULL); if (r) return r;
    r = sbw_slot(false, true, NULL); if (r) return r;
    return sbw_slot(false, true, NULL);
}

static int goto_shift_dr(void)
{
    int r;
    r = sbw_slot(true, true, NULL); if (r) return r;
    r = sbw_slot(false, true, NULL); if (r) return r;
    return sbw_slot(false, true, NULL);
}

static int finish_shift(void)
{
    int r;
    r = sbw_slot(true, true, NULL); if (r) return r;
    return sbw_slot(false, true, NULL);
}

static int shift_bits(bool ir, uint16_t bits, const uint8_t *tx, uint8_t *rx, size_t *rxlen)
{
    if (!bits || !tx || !rx || !rxlen) return -EINVAL;
    size_t bytes = (bits + 7u) / 8u;
    if (*rxlen < bytes) return -ENOSPC;
    memset(rx, 0, bytes);
    int r = ir ? goto_shift_ir() : goto_shift_dr();
    if (r) return r;
    for (uint16_t i = 0; i < bits; ++i) {
        bool last = (i + 1u) == bits;
        bool tdi = ((tx[i / 8u] >> (i & 7u)) & 1u) != 0;
        bool tdo = false;
        r = sbw_slot(last, tdi, &tdo);
        if (r) return r;
        if (tdo) rx[i / 8u] |= (uint8_t)(1u << (i & 7u));
    }
    r = finish_shift();
    if (!r) *rxlen = bytes;
    return r;
}

static int clock_const(uint8_t cycles, bool tms, bool tdi, uint8_t *rx, size_t *rxlen)
{
    if (!rx || !rxlen) return -EINVAL;
    size_t bytes = (cycles + 7u) / 8u;
    if (*rxlen < bytes) return -ENOSPC;
    memset(rx, 0, bytes);
    for (uint8_t i = 0; i < cycles; ++i) {
        bool tdo = false;
        int r = sbw_slot(tms, tdi, &tdo);
        if (r) return r;
        if (tdo) rx[i / 8u] |= (uint8_t)(1u << (i & 7u));
    }
    *rxlen = bytes;
    return 0;
}

static int enter(void)
{
    const struct dj_hw_ops *h = dj_hw();
    if (!h) return -ENODEV;
    if (h->power) {
        int r = h->power(cfg.power);
        if (r) return r;
    }
    int r;
    r = h->dir(DJ_PIN_CLK, DJ_DIR_OUTPUT); if (r) return r;   /* SBWTCK / TEST */
    r = h->dir(DJ_PIN_DATA0, DJ_DIR_OUTPUT); if (r) return r; /* SBWTDIO / RST */
    h->write(DJ_PIN_CLK, false);
    h->write(DJ_PIN_DATA0, true);
    /* Conservative SBW entry gate: TEST/SBWTCK toggles while RST/SBWTDIO is
     * held/released.  Exact target-family pulse timing is bench validated in
     * host scripts before enabling erase/write algorithms. */
    h->write(DJ_PIN_DATA0, false);
    h->delay_us(200);
    h->write(DJ_PIN_CLK, true);
    h->delay_us(200);
    h->write(DJ_PIN_DATA0, true);
    h->delay_us(1000);
    return tap_reset(8);
}

static int leave(void)
{
    const struct dj_hw_ops *h = dj_hw();
    if (!h) return -ENODEV;
    h->write(DJ_PIN_CLK, false);
    h->write(DJ_PIN_DATA0, true);
    h->dir(DJ_PIN_CLK, DJ_DIR_INPUT);
    h->dir(DJ_PIN_DATA0, DJ_DIR_INPUT);
    return 0;
}

static int raw_xfer(const uint8_t *tx, size_t txlen, uint8_t *rx, size_t *rxlen)
{
    if (!tx || !rx || !rxlen || txlen < 1) return -EINVAL;
    switch (tx[0]) {
    case DJ_MSP430_RAW_TAP_RESET:
        if (txlen != 2) return -EINVAL;
        *rxlen = 0;
        return tap_reset(tx[1]);
    case DJ_MSP430_RAW_SHIFT_IR:
    case DJ_MSP430_RAW_SHIFT_DR: {
        if (txlen < 3) return -EINVAL;
        uint16_t bits = (uint16_t)tx[1] | ((uint16_t)tx[2] << 8);
        size_t bytes = (bits + 7u) / 8u;
        if (bits == 0 || txlen != 3u + bytes) return -EINVAL;
        return shift_bits(tx[0] == DJ_MSP430_RAW_SHIFT_IR, bits, tx + 3, rx, rxlen);
    }
    case DJ_MSP430_RAW_CLOCK:
        if (txlen != 4) return -EINVAL;
        return clock_const(tx[1], tx[2] != 0u, tx[3] != 0u, rx, rxlen);
    default:
        return -EINVAL;
    }
}

const struct dj_backend dj_backend_sbw = {
    DJ_PROTO_MSP430_SBW,
    "msp430-sbw",
    DJ_CAP_RAW_XFER | DJ_CAP_DEBUG_PHY | DJ_CAP_TARGET_POWER | DJ_CAP_EXPERIMENTAL,
    100000,
    500000,
    sel,
    enter,
    leave,
    NULL,
    NULL,
    NULL,
    NULL,
    raw_xfer
};
```

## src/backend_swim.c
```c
/* SPDX-License-Identifier: MIT */
#include "djprog/backend.h"
#include "djprog/hw.h"
#include "djprog/swim.h"
#include <errno.h>
#include <string.h>

static struct dj_target_cfg cfg;

static int select_swim(const struct dj_target_cfg *c)
{
    if (!c) return -EINVAL;
    cfg = *c;
    bool mock = strncmp(cfg.device, "mock-stm8", 9u) == 0;
    return dj_swim_select(cfg.clock_hz ? cfg.clock_hz : 363000u, mock);
}

static int enter_swim(void)
{
    const struct dj_hw_ops *h = dj_hw();
    if (!h) return -ENODEV;
    if (h->power) {
        int r = h->power(cfg.power);
        if (r) return r;
    }
    return dj_swim_enter();
}

static int leave_swim(void)
{
    return dj_swim_leave();
}

static int identify(uint8_t *out, size_t *len)
{
    if (!out || !len || *len < 2u) return -EINVAL;
    /* Most STM8 devices expose a device ID in this area; exact family decoding
     * remains host-side/table driven. */
    int r = dj_swim_read_mem(0x00487Eu, out, 2u);
    if (!r) *len = 2u;
    return r;
}

static int read_mem(uint32_t addr, uint8_t *data, size_t len)
{
    return dj_swim_read_mem(addr, data, len);
}

static int write_mem(uint32_t addr, const uint8_t *data, size_t len)
{
    return dj_swim_write_mem(addr, data, len);
}

/* Raw SWIM is now a transport-level operation:
 *   op 0x01: read  [01 addr24 len16] -> data
 *   op 0x02: write [02 addr24 len16 data...] -> empty
 *   op 0x03: srst  [03] -> empty
 * Legacy pulse-triplet raw mode is intentionally retired from the high-level
 * backend because it bypassed protocol acknowledgements and could not debug. */
static int raw(const uint8_t *tx, size_t n, uint8_t *rx, size_t *rn)
{
    if (!tx || !rn || n < 1u) return -EINVAL;
    if (tx[0] == 0x03u) { *rn = 0; return dj_swim_system_reset(); }
    if (n < 6u) return -EINVAL;
    uint32_t addr = ((uint32_t)tx[1] << 16) | ((uint32_t)tx[2] << 8) | tx[3];
    uint16_t len = (uint16_t)tx[4] | ((uint16_t)tx[5] << 8);
    if (tx[0] == 0x01u) {
        if (!rx || *rn < len) return -ENOSPC;
        int r = dj_swim_read_mem(addr, rx, len);
        if (!r) *rn = len;
        return r;
    }
    if (tx[0] == 0x02u) {
        if (n != 6u + len) return -EINVAL;
        *rn = 0;
        return dj_swim_write_mem(addr, tx + 6, len);
    }
    return -EINVAL;
}

const struct dj_backend dj_backend_swim = {
    DJ_PROTO_STM8_SWIM,
    "stm8-swim",
    DJ_CAP_IDENTIFY | DJ_CAP_READ | DJ_CAP_WRITE | DJ_CAP_RAW_XFER |
        DJ_CAP_DEBUG_PHY | DJ_CAP_DEBUG_RUNCTRL | DJ_CAP_DEBUG_REGS |
        DJ_CAP_DEBUG_BREAK | DJ_CAP_EXPERIMENTAL,
    363000,
    8000000,
    select_swim,
    enter_swim,
    leave_swim,
    identify,
    0,
    read_mem,
    write_mem,
    raw
};
```

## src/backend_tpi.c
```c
/* SPDX-License-Identifier: MIT */
#include "djprog/backend.h"
#include "djprog/phy.h"
#include "djprog/hw.h"
#include <errno.h>
static struct dj_target_cfg cfg;
static int sel(const struct dj_target_cfg*c){cfg=*c;return 0;}
static uint32_t hz(void){uint32_t x=cfg.clock_hz?cfg.clock_hz:100000u;return x>250000u?250000u:x;}
static int enter(void){
    const struct dj_hw_ops*h=dj_hw();if(!h)return-ENODEV;
    if(h->power){int r=h->power(cfg.power);if(r)return r;}
    h->dir(DJ_PIN_CLK,DJ_DIR_OUTPUT);h->write(DJ_PIN_CLK,false);
    h->write(DJ_PIN_RESET,false);h->delay_us(1000);
    return dj_sync_1wire_break(hz(),24);
}
static int leave(void){if(dj_hw()){dj_hw()->write(DJ_PIN_RESET,true);dj_hw()->dir(DJ_PIN_DATA0,DJ_DIR_INPUT);dj_hw()->dir(DJ_PIN_CLK,DJ_DIR_INPUT);}return 0;}
/* envelope: u16 tx_count,u16 rx_count, then bytes; each byte is framed start+8 data+even parity+2 stop */
static int raw(const uint8_t*t,size_t n,uint8_t*r,size_t*rn){
    if(!t||n<4||!rn)return-EINVAL;
    uint16_t txc=(uint16_t)t[0]|((uint16_t)t[1]<<8),rxc=(uint16_t)t[2]|((uint16_t)t[3]<<8);
    if(4u+(size_t)txc>n||(size_t)rxc>*rn)return-EINVAL;
    int e=dj_sync_1wire_txrx_8e2(t+4,txc,r,rxc,hz());
    if(!e)*rn=rxc;
    return e;
}
const struct dj_backend dj_backend_tpi={DJ_PROTO_AVR_TPI,"avr-tpi-8e2-raw",DJ_CAP_RAW_XFER|DJ_CAP_TARGET_POWER|DJ_CAP_EXPERIMENTAL,100000,250000,sel,enter,leave,0,0,0,0,raw};
```

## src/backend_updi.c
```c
/* SPDX-License-Identifier: MIT */
#include "djprog/backend.h"
#include "djprog/phy.h"
#include "djprog/hw.h"
#include <errno.h>

static struct dj_target_cfg cfg;
static int sel(const struct dj_target_cfg*c){cfg=*c;return 0;}
static uint32_t baud(void){uint32_t b=cfg.clock_hz?cfg.clock_hz:115200u;return b>225000u?225000u:b;}
static int enter(void){
    const struct dj_hw_ops*h=dj_hw();if(!h)return-ENODEV;
    if(h->power){int r=h->power(cfg.power);if(r)return r;}
    if((cfg.flags&1u)!=0){
        if(!h->vpp_boost||!h->hv_data0_apply)return-ENOTSUP;
        int r=h->vpp_boost(true);if(r)return r;
        if((r=h->hv_data0_apply(true)))return r;
        h->delay_us(1000);
        h->hv_data0_apply(false);
        h->delay_us(50); /* begin UPDI synchronization/key traffic well inside vendor activation window */
    }
    h->dir(DJ_PIN_DATA0,DJ_DIR_OUTPUT);h->write(DJ_PIN_DATA0,true);h->delay_us(2000);
    /* UPDI uses UART-like 8E2. A long low BREAK re-synchronizes the PHY. */
    uint32_t b=baud(); uint32_t bit=(1000000u+b/2u)/b;if(!bit)bit=1;
    h->write(DJ_PIN_DATA0,false);h->delay_us(24u*bit);
    h->write(DJ_PIN_DATA0,true);h->delay_us(2u*bit);
    h->dir(DJ_PIN_DATA0,DJ_DIR_INPUT);
    return 0;
}
static int leave(void){if(dj_hw())dj_hw()->dir(DJ_PIN_DATA0,DJ_DIR_INPUT);return 0;}
static int raw(const uint8_t*tx,size_t tn,uint8_t*rx,size_t*rn){
    if(!tx||tn<4||!rn)return-EINVAL;
    uint16_t txc=(uint16_t)tx[0]|((uint16_t)tx[1]<<8),rxc=(uint16_t)tx[2]|((uint16_t)tx[3]<<8);
    if(4u+(size_t)txc>tn||(size_t)rxc>*rn)return-EINVAL;
    int r=dj_uart_1wire_txrx_ex(tx+4,txc,rx,rxc,baud(),false,DJ_PARITY_EVEN,2);
    if(!r)*rn=rxc;
    return r;
}
const struct dj_backend dj_backend_updi={
    DJ_PROTO_AVR_UPDI,"avr-updi-8e2-raw",
    DJ_CAP_RAW_XFER|DJ_CAP_DEBUG_PHY|DJ_CAP_TARGET_POWER|DJ_CAP_EXPERIMENTAL,
    115200,225000,sel,enter,leave,0,0,0,0,raw
};
```

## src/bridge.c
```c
/* SPDX-License-Identifier: MIT */
#include "djprog/bridge.h"
#include "djprog/common.h"
#include "djprog/hw.h"
#include <errno.h>
#include <string.h>

static void dly(uint32_t us) {
	const struct dj_hw_ops *h = dj_hw();
	if (h && h->delay_us)
		h->delay_us(us ? us : 1u);
}

int dj_bridge_info(uint8_t *out, size_t *len) {
	static const char s[] =
	    "gpio,spi-bitbang,i2c-bitbang,uart-bitbang,power-trace,production-job-ready";
	if (!out || !len || *len < sizeof(s) - 1u)
		return -ENOSPC;
	memcpy(out, s, sizeof(s) - 1u);
	*len = sizeof(s) - 1u;
	return 0;
}

int dj_bridge_gpio(const uint8_t *in, size_t inlen, uint8_t *out, size_t *outlen) {
	if (!in || !out || !outlen || inlen < 2)
		return -EINVAL;
	const struct dj_hw_ops *h = dj_hw();
	if (!h)
		return -ENODEV;
	enum dj_pin_role role = (enum dj_pin_role)in[1];
	if (role >= DJ_PIN_COUNT)
		return -ERANGE;
	switch (in[0]) {
	case DJ_BRIDGE_GPIO_READ: {
		bool v = false;
		int r = h->read ? h->read(role, &v) : -ENOTSUP;
		if (r)
			return r;
		if (*outlen < 1)
			return -ENOSPC;
		out[0] = v ? 1u : 0u;
		*outlen = 1;
		return 0;
	}
	case DJ_BRIDGE_GPIO_WRITE:
		if (inlen < 3)
			return -EINVAL;
		*outlen = 0;
		return h->write ? h->write(role, in[2] != 0u) : -ENOTSUP;
	case DJ_BRIDGE_GPIO_DIR:
		if (inlen < 3)
			return -EINVAL;
		*outlen = 0;
		return h->dir ? h->dir(role, (enum dj_dir)in[2]) : -ENOTSUP;
	default:
		return -EINVAL;
	}
}

int dj_bridge_spi(const uint8_t *in, size_t inlen, uint8_t *out, size_t *outlen) {
	if (!in || !out || !outlen || inlen < 10)
		return -EINVAL;
	const struct dj_hw_ops *h = dj_hw();
	if (!h || !h->clock_bits || !h->dir || !h->write)
		return -ENOTSUP;
	uint8_t mode = in[0] & 3u;
	enum dj_pin_role cs = (enum dj_pin_role)in[1];
	uint16_t flags = dj_le16(in + 2);
	uint32_t hz = dj_le32(in + 4);
	uint16_t n = dj_le16(in + 8);
	if (cs >= DJ_PIN_COUNT || 10u + n > inlen || n > *outlen)
		return -EINVAL;
	bool lsb_first = (flags & 1u) != 0u;
	bool cs_active_high = (flags & 2u) != 0u;
	bool cpol = (mode & 2u) != 0u;
	(void)(mode & 1u); /* CPHA is approximated by the generic clock helper. */
	int r = h->dir(cs, DJ_DIR_OUTPUT);
	if (r)
		return r;
	r = h->write(DJ_PIN_CLK, cpol);
	if (r)
		return r;
	r = h->write(cs, cs_active_high ? true : false);
	if (r)
		return r;
	r = h->clock_bits(DJ_PIN_CLK, DJ_PIN_DATA1, DJ_PIN_DATA2, in + 10, out, n * 8u, lsb_first,
	                  hz ? hz : 100000u);
	(void)h->write(cs, cs_active_high ? false : true);
	if (!r)
		*outlen = n;
	return r;
}

static int i2c_drive_sda(bool high) {
	const struct dj_hw_ops *h = dj_hw();
	if (!h || !h->dir || !h->write)
		return -ENOTSUP;
	if (high)
		return h->dir(DJ_PIN_DATA0, DJ_DIR_RELEASE);
	int r = h->write(DJ_PIN_DATA0, false);
	if (r)
		return r;
	return h->dir(DJ_PIN_DATA0, DJ_DIR_OD_LOW);
}

static int i2c_drive_scl(bool high) {
	const struct dj_hw_ops *h = dj_hw();
	if (!h || !h->dir || !h->write)
		return -ENOTSUP;
	if (high)
		return h->dir(DJ_PIN_CLK, DJ_DIR_RELEASE);
	int r = h->write(DJ_PIN_CLK, false);
	if (r)
		return r;
	return h->dir(DJ_PIN_CLK, DJ_DIR_OD_LOW);
}

static int i2c_sample_sda(bool *v) {
	const struct dj_hw_ops *h = dj_hw();
	return h && h->read ? h->read(DJ_PIN_DATA0, v) : -ENOTSUP;
}

static int i2c_bit(bool bit, uint32_t half_us, bool *sample) {
	int r = i2c_drive_sda(bit);
	if (r)
		return r;
	dly(half_us);
	r = i2c_drive_scl(true);
	if (r)
		return r;
	dly(half_us);
	if (sample) {
		r = i2c_sample_sda(sample);
		if (r)
			return r;
	}
	r = i2c_drive_scl(false);
	if (r)
		return r;
	dly(half_us);
	return 0;
}

static int i2c_write_byte(uint8_t b, uint32_t half_us) {
	for (int i = 7; i >= 0; --i) {
		int r = i2c_bit(((b >> i) & 1u) != 0u, half_us, NULL);
		if (r)
			return r;
	}
	bool ack = true;
	int r = i2c_bit(true, half_us, &ack);
	return r ? r : 0; /* Keep bench mode tolerant: hosts can inspect target externally. */
}

static int i2c_read_byte(uint8_t *b, bool last, uint32_t half_us) {
	if (!b)
		return -EINVAL;
	*b = 0;
	for (int i = 7; i >= 0; --i) {
		bool bit = false;
		int r = i2c_bit(true, half_us, &bit);
		if (r)
			return r;
		if (bit)
			*b |= (uint8_t)(1u << i);
	}
	return i2c_bit(last, half_us, NULL); /* ACK all but last. */
}

int dj_bridge_i2c(const uint8_t *in, size_t inlen, uint8_t *out, size_t *outlen) {
	if (!in || !out || !outlen || inlen < 9)
		return -EINVAL;
	uint8_t addr = in[0];
	uint16_t txlen = dj_le16(in + 1);
	uint16_t rxlen = dj_le16(in + 3);
	uint32_t hz = dj_le32(in + 5);
	if (9u + txlen > inlen || rxlen > *outlen)
		return -EINVAL;
	uint32_t half = hz ? (500000u / hz) : 5u;
	if (!half)
		half = 1u;
	int r = i2c_drive_sda(true);
	if (r)
		return r;
	r = i2c_drive_scl(true);
	if (r)
		return r;
	dly(half);
	r = i2c_drive_sda(false);
	if (r)
		return r;
	dly(half);
	r = i2c_drive_scl(false);
	if (r)
		return r;
	r = i2c_write_byte((uint8_t)((addr << 1) | 0u), half);
	if (r)
		goto stop;
	for (uint16_t i = 0; i < txlen; ++i) {
		r = i2c_write_byte(in[9u + i], half);
		if (r)
			goto stop;
	}
	if (rxlen) {
		r = i2c_drive_sda(true);
		if (r)
			goto stop;
		r = i2c_drive_scl(true);
		if (r)
			goto stop;
		dly(half);
		r = i2c_drive_sda(false);
		if (r)
			goto stop;
		dly(half);
		r = i2c_drive_scl(false);
		if (r)
			goto stop;
		r = i2c_write_byte((uint8_t)((addr << 1) | 1u), half);
		if (r)
			goto stop;
		for (uint16_t i = 0; i < rxlen; ++i) {
			r = i2c_read_byte(out + i, i + 1u == rxlen, half);
			if (r)
				goto stop;
		}
	}
stop:
	(void)i2c_drive_sda(false);
	dly(half);
	(void)i2c_drive_scl(true);
	dly(half);
	(void)i2c_drive_sda(true);
	if (!r)
		*outlen = rxlen;
	return r;
}

int dj_bridge_uart(const uint8_t *in, size_t inlen, uint8_t *out, size_t *outlen) {
	if (!in || !out || !outlen || inlen < 10)
		return -EINVAL;
	const struct dj_hw_ops *h = dj_hw();
	if (!h || !h->dir || !h->write || !h->read)
		return -ENOTSUP;
	uint32_t baud = dj_le32(in + 0);
	uint16_t flags = dj_le16(in + 4);
	uint16_t txlen = dj_le16(in + 6);
	uint16_t rxlen = dj_le16(in + 8);
	if (!baud || 10u + txlen > inlen || rxlen > *outlen)
		return -EINVAL;
	uint32_t bit_us = 1000000u / baud;
	if (!bit_us)
		bit_us = 1u;
	bool inv = (flags & 1u) != 0u;
	int r = h->dir(DJ_PIN_DATA0, DJ_DIR_OUTPUT);
	if (r)
		return r;
	r = h->write(DJ_PIN_DATA0, inv ? false : true);
	if (r)
		return r;
	for (uint16_t i = 0; i < txlen; ++i) {
		uint8_t b = in[10u + i];
		r = h->write(DJ_PIN_DATA0, inv ? true : false);
		if (r)
			return r;
		dly(bit_us);
		for (unsigned bit = 0; bit < 8; ++bit) {
			bool v = ((b >> bit) & 1u) != 0u;
			r = h->write(DJ_PIN_DATA0, inv ? !v : v);
			if (r)
				return r;
			dly(bit_us);
		}
		r = h->write(DJ_PIN_DATA0, inv ? false : true);
		if (r)
			return r;
		dly(bit_us);
	}
	r = h->dir(DJ_PIN_DATA1, DJ_DIR_INPUT);
	if (r)
		return r;
	for (uint16_t i = 0; i < rxlen; ++i) {
		uint8_t b = 0;
		dly(bit_us + bit_us / 2u);
		for (unsigned bit = 0; bit < 8; ++bit) {
			bool v = false;
			r = h->read(DJ_PIN_DATA1, &v);
			if (r)
				return r;
			if (inv)
				v = !v;
			if (v)
				b |= (uint8_t)(1u << bit);
			dly(bit_us);
		}
		out[i] = b;
		dly(bit_us);
	}
	*outlen = rxlen;
	return 0;
}
```

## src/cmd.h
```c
/*
  Copyright (c) 2017-2022 The DirtyJTAG authors.

  Permission is hereby granted, free of charge, to any person obtaining
  a copy of this software and associated documentation files (the "Software"),
  to deal in the Software without restriction, including without limitation
  the rights to use, copy, modify, merge, publish, distribute, sublicense,
  and/or sell copies of the Software, and to permit persons to whom the Software
  is furnished to do so, subject to the following conditions:
  The above copyright notice and this permission notice shall be included in
  all copies or substantial portions of the Software.

  THE SOFTWARE IS PROVIDED "AS IS", WITHOUT WARRANTY OF ANY KIND,
  EXPRESS OR IMPLIED, INCLUDING BUT NOT LIMITED TO THE WARRANTIES
  OF MERCHANTABILITY, FITNESS FOR A PARTICULAR PURPOSE AND NONINFRINGEMENT.
  IN NO EVENT SHALL THE AUTHORS OR COPYRIGHT HOLDERS BE LIABLE FOR ANY
  CLAIM, DAMAGES OR OTHER LIABILITY, WHETHER IN AN ACTION OF CONTRACT,
  TORT OR OTHERWISE, ARISING FROM, OUT OF OR IN CONNECTION WITH THE SOFTWARE
  OR THE USE OR OTHER DEALINGS IN THE SOFTWARE.
*/

#pragma once

/**
 * @brief Handle a DirtyJTAG command
 *
 * @param usbd_dev USB device
 * @param transfer Received packet
 * @return Command needs to send data back to host
 */
#include <stdint.h>

#include "usb.h"

uint8_t cmd_handle(const struct dirtyjtag_usb_transfer *transfer);
```

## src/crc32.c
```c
#include "djprog/usb_proto.h"
uint32_t dj_crc32(const void *data, size_t len, uint32_t seed) {
	const uint8_t *p = data;
	uint32_t c = ~seed;
	while (len--) {
		c ^= *p++;
		for (int i = 0; i < 8; i++)
			c = (c >> 1) ^ (0xEDB88320u & (0u - (c & 1u)));
	}
	return ~c;
}
```
